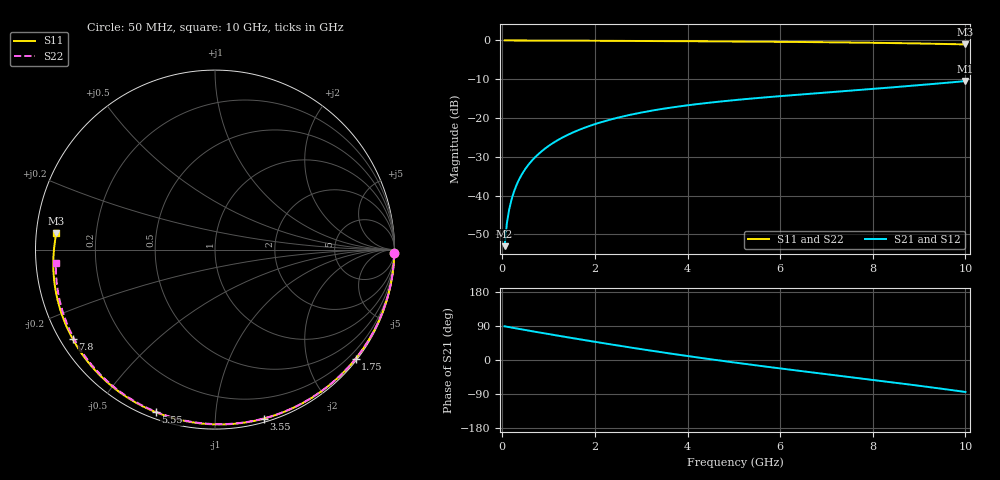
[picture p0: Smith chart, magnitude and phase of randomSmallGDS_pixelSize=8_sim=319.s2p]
! freq	dB(S11)	phase(S11)	dB(S12)	phase(S12)
!  dB(S21)	phase(S21)	dB(S22)	phase(S22)
!S-par simulation data
#  GHz  S  DB  R 50
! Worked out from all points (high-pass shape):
!   200 points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, 50 MHz to 10 GHz, reference 50 ohm
!   highest |S21| = -10.48 dB at 10 GHz (marker M1); lowest = -53.0 dB at 50 MHz (marker M2)
!   |S21| within 3 dB of the highest: 6.939 GHz to end of sweep
!   lowest |S11| = -1.0 dB at 10 GHz (marker M3), VSWR 16.92, Z = 2.96 + j2.59 ohm
!   |S11| at or under -10 dB: nowhere
!   |S22| runs from -1.0 to 0.0 dB; largest |S21 - S12| = 0
!   S11 on the Smith chart (normalised r, x): 50 MHz: open; 1.75 GHz: 0.04, -2.92; 3.55 GHz: 0.03, -1.33; 5.55 GHz: 0.03, -0.70; 7.8 GHz: 0.04, -0.29; 10 GHz: 0.06, +0.05
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0.05  -0.01 -1.1  -53.01 88.9  -53.01 88.9  -0.01 -1.1
0.1  -0.01 -2.2  -46.99 87.8  -46.99 87.8  -0.01 -2.1
0.15  -0.01 -3.3  -43.47 86.7  -43.47 86.7  -0.01 -3.1
0.2  -0.01 -4.4  -40.98 85.6  -40.98 85.6  -0.01 -4.2
0.25  -0.01 -5.5  -39.05 84.5  -39.05 84.5  -0.01 -5.2
0.35  -0.01 -7.7  -36.14 82.3  -36.14 82.3  -0.01 -7.3
0.5  -0.02 -11.0  -33.07 79.0  -33.07 79.0  -0.02 -10.4
0.7  -0.02 -15.4  -30.20 74.7  -30.20 74.7  -0.02 -14.5
1  -0.03 -21.9  -27.19 68.4  -27.19 68.4  -0.03 -20.6
1.35  -0.05 -29.4  -24.70 61.2  -24.70 61.2  -0.05 -27.7
1.75  -0.07 -37.9  -22.61 53.0  -22.61 53.0  -0.07 -35.7
2.6  -0.12 -55.3  -19.60 36.2  -19.60 36.2  -0.11 -52.3
3.4  -0.16 -71.1  -17.75 21.2  -17.75 21.2  -0.16 -67.2
3.55  -0.17 -73.9  -17.47 18.5  -17.47 18.5  -0.17 -70.0
4.3  -0.22 -87.9  -16.28 5.3  -16.28 5.3  -0.22 -83.3
5.05  -0.28 -101.4  -15.34 -7.2  -15.34 -7.2  -0.27 -96.1
5.55  -0.32 -110.1  -14.80 -15.2  -14.80 -15.2  -0.31 -104.4
6.7  -0.43 -129.5  -13.70 -32.9  -13.70 -32.9  -0.42 -122.8
7.8  -0.57 -147.8  -12.69 -49.5  -12.69 -49.5  -0.56 -140.1
8.35  -0.66 -157.1  -12.16 -57.8  -12.16 -57.8  -0.65 -148.6
9.2  -0.83 -171.6  -11.32 -71.2  -11.32 -71.2  -0.82 -162.1
10  -1.03 174.1  -10.48 -84.4  -10.48 -84.4  -1.02 -175.1
